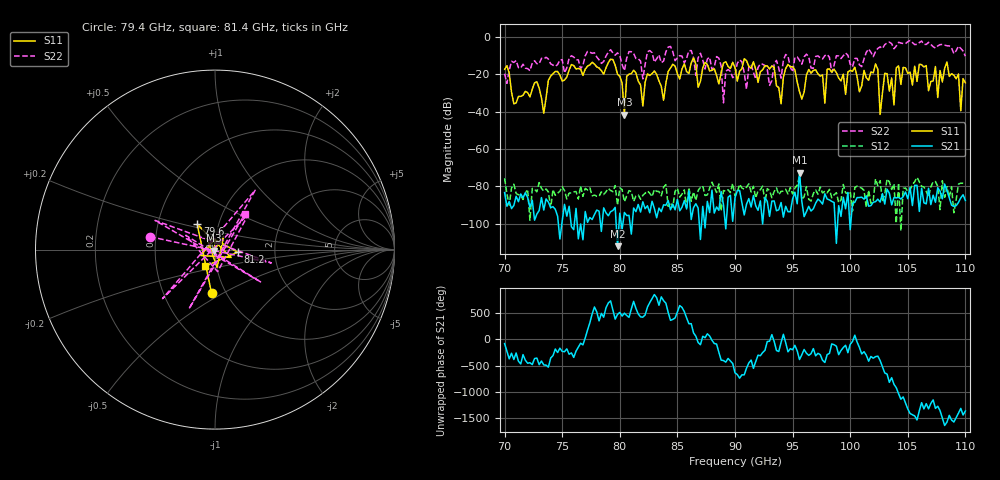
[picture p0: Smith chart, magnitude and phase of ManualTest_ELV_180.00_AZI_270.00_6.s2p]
! 11/25/2026 12:30:28 PM
! C:\ANRITSUVNA\TEMP\TEMP.S2P
! CHANNEL.1
! TR.MEASUREMENT
! RAW.DATA
# HZ S RI R 50.0
! FREQ.HZ  S11RE  S11IM  S21RE  S21IM  S12RE  S12IM  S22RE  S22IM
!; PortSelection: Port_12
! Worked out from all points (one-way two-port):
!   201 points, 70 GHz to 110 GHz, reference 50 ohm
!   highest |S21| = -72.76 dB at 95.6 GHz (marker M1); lowest = -112.0 dB at 79.8 GHz (marker M2)
!   lowest |S11| = -41.6 dB at 80.4 GHz (marker M3), VSWR 1.02, Z = 49.4 - j0.581 ohm
!   |S11| at or under -10 dB: start of sweep to end of sweep
!   |S22| runs from -35.4 to -2.0 dB; largest |S21 - S12| = 0.00026
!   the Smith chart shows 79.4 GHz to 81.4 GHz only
!   S11 on the Smith chart (normalised r, x): 79.4 GHz: 0.86, -0.45; 79.6 GHz: 0.79, +0.23; 81.2 GHz: 1.29, -0.04; 81.4 GHz: 0.88, -0.17
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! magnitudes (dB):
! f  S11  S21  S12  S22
! 70 GHz  -17.4  -83.3  -75.7  -19.8
! 73.4 GHz  -40.9  -92.7  -82.5  -11.9
! 74.2 GHz  -19.7  -90.9  -81.7  -15.2
! 76.8 GHz  -20.6  -108.6  -85.4  -15.3
! 79.4 GHz  -12.2  -92.9  -82.9  -8.7
! 79.6 GHz  -15.3  -91.3  -79.6  -9.8
! 79.8 GHz  -20.0  -112.0  -90.1  -8.6
! 80.4 GHz  -41.6  -94.0  -88.3  -18.1
! 81.2 GHz  -17.9  -91.6  -88.1  -8.9
! 81.4 GHz  -19.4  -93.6  -85.2  -11.6
! 82 GHz  -37.1  -88.3  -84.8  -22.5
! 83.4 GHz  -23.7  -91.7  -82.8  -9.7
! 88.6 GHz  -25.2  -92.8  -78.7  -11.5
! 89 GHz  -14.0  -89.9  -82.2  -35.4
! 90 GHz  -16.4  -86.1  -85.1  -20.8
! 95.6 GHz  -29.4  -72.8  -74.3  -12.6
! 96.8 GHz  -18.0  -92.0  -83.9  -16.9
! 97.8 GHz  -35.5  -84.0  -82.6  -10.1
! 98 GHz  -17.4  -86.8  -83.5  -9.4
! 103.4 GHz  -29.1  -83.7  -77.6  -2.9
! 109.6 GHz  -39.6  -86.2  -78.3  -6.2
! 110 GHz  -24.6  -87.6  -78.6  -10.4
